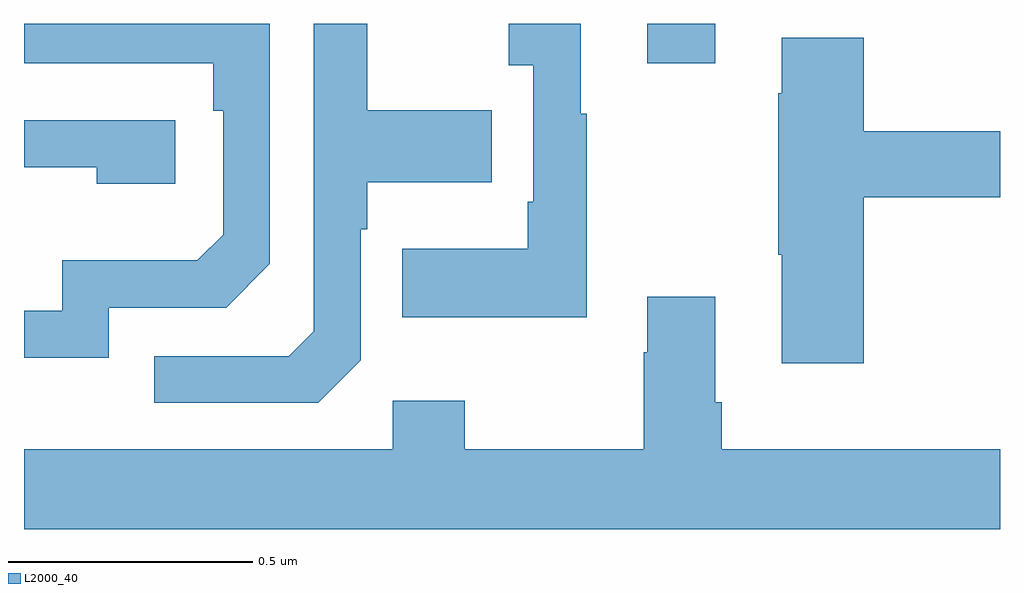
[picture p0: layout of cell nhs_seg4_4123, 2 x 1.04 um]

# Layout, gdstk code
import gdstk
lib = gdstk.Library(unit=1e-6, precision=1e-09)
def R(c, l, rs):  # rectangles x0, y0, x1, y1
    for r in rs: c.add(gdstk.rectangle(r[:2], r[2:], *l))
def P(c, l, *ps):  # polygons
    for p in ps: c.add(gdstk.Polygon(p, *l))
L2000_40 = (2000, 40)

nhs_seg4_4123 = lib.new_cell('nhs_seg4_4123')
R(nhs_seg4_4123, L2000_40, [(163.277,753.819,163.417,753.9)])
P(nhs_seg4_4123, L2000_40, [(162.174,753.318),(162.414,753.318),(162.504,753.408),(162.504,753.9),(162,753.9),(162,753.819),(162.388,753.819),(162.388,753.722),(162.408,753.722),(162.408,753.468),(162.355,753.415),(162.078,753.415),(162.078,753.312),(162,753.312),(162,753.216),(162.174,753.216)],
  [(162.69,753.21),(162.69,753.479),(162.703,753.479),(162.703,753.575),(162.959,753.575),(162.959,753.723),(162.703,753.723),(162.703,753.9),(162.594,753.9),(162.594,753.27),(162.543,753.219),(162.267,753.219),(162.267,753.123),(162.603,753.123)],
  [(163.153,753.715),(163.141,753.715),(163.141,753.9),(162.993,753.9),(162.993,753.815),(163.044,753.815),(163.044,753.535),(163.032,753.535),(163.032,753.439),(162.775,753.439),(162.775,753.299),(163.153,753.299)],
  [(163.721,753.544),(164,753.544),(164,753.68),(163.721,753.68),(163.721,753.871),(163.553,753.871),(163.553,753.758),(163.546,753.758),(163.546,753.427),(163.553,753.427),(163.553,753.204),(163.721,753.204)],
  [(162.31,753.702),(162,753.702),(162,753.606),(162.149,753.606),(162.149,753.572),(162.31,753.572)],
  [(164,753.028),(163.43,753.028),(163.43,753.124),(163.417,753.124),(163.417,753.34),(163.277,753.34),(163.277,753.227),(163.27,753.227),(163.27,753.028),(162.903,753.028),(162.903,753.127),(162.756,753.127),(162.756,753.028),(162,753.028),(162,752.864),(164,752.864)])

lib.write_gds('nhs_seg4_4123.gds')
